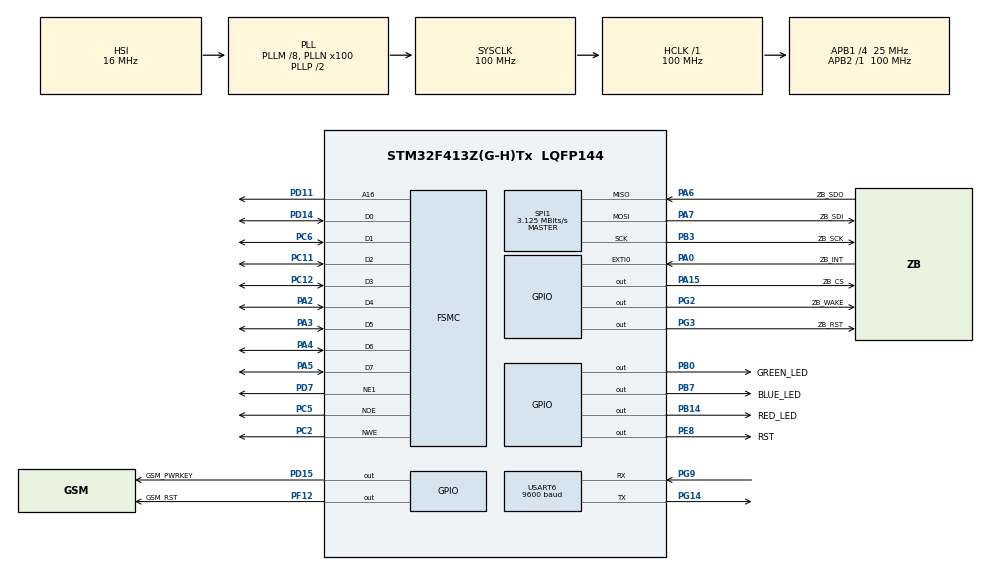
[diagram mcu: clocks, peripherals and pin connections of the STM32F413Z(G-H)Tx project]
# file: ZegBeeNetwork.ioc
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FREERTOS.BinarySemaphores01=zigbeeTransmitSema,Dynamic,NULL;gsmSema,Dynamic,NULL;zigbeeReceiveSema,Dynamic,NULL
FREERTOS.Tasks01=defaultTask,0,128,StartDefaultTask,Default,NULL,Dynamic,NULL,NULL;myTask02,0,128,ZigBeeTask,Default,NULL,Dynamic,NULL,NULL;myTask03,0,128,GsmTask,Default,NULL,Dynamic,NULL,NULL;myTask04,-3,128,DisplayTask,Default,NULL,Dynamic,NULL,NULL
FSMC.AddressSetupTime1=5
FSMC.BusTurnAroundDuration1=5
FSMC.DataSetupTime1=5
Mcu.Family=STM32F4
Mcu.Name=STM32F413Z(G-H)Tx
Mcu.Package=LQFP144
NVIC.EXTI0_IRQn=true\:5\:0\:true\:false\:true\:true\:true
NVIC.PriorityGroup=NVIC_PRIORITYGROUP_4
NVIC.TIM1_UP_TIM10_IRQn=true\:0\:0\:false\:false\:true\:false\:false
NVIC.TimeBase=TIM1_UP_TIM10_IRQn
NVIC.TimeBaseIP=TIM1
NVIC.USART6_IRQn=true\:5\:0\:false\:false\:true\:true\:true
PA0.GPIO_Label=ZB_INT
PA0.GPIO_ModeDefaultEXTI=GPIO_MODE_IT_FALLING
PA0.Signal=GPXTI0
PA15.GPIO_Label=ZB_CS
PA15.Signal=GPIO_Output
PA2.Signal=FSMC_D4_DA4
PA3.Signal=FSMC_D5_DA5
PA4.Signal=FSMC_D6_DA6
PA5.Signal=FSMC_D7_DA7
PA6.GPIO_Label=ZB_SDO
PA6.Mode=Full_Duplex_Master
PA6.Signal=SPI1_MISO
PA7.GPIO_Label=ZB_SDI
PA7.Mode=Full_Duplex_Master
PA7.Signal=SPI1_MOSI
PB0.GPIO_Label=GREEN_LED
PB0.Signal=GPIO_Output
PB14.GPIO_Label=RED_LED
PB14.Signal=GPIO_Output
PB3.GPIO_Label=ZB_SCK
PB3.Mode=Full_Duplex_Master
PB3.Signal=SPI1_SCK
PB7.GPIO_Label=BLUE_LED
PB7.Signal=GPIO_Output
PC11.Signal=FSMC_D2_DA2
PC12.Signal=FSMC_D3_DA3
PC2.Signal=FSMC_NWE
PC5.Signal=FSMC_NOE
PC6.Signal=FSMC_D1_DA1
PD11.Signal=FSMC_A16
PD14.Signal=FSMC_D0_DA0
PD15.GPIO_Label=GSM_PWRKEY
PD15.Signal=GPIO_Output
PD7.Mode=NorPsramChipSelect1_1
PD7.Signal=FSMC_NE1
PE8.GPIO_Label=RST
PE8.Signal=GPIO_Output
PF12.GPIO_Label=GSM_RST
PF12.Signal=GPIO_Output
PG14.Mode=Asynchronous
PG14.Signal=USART6_TX
PG2.GPIO_Label=ZB_WAKE
PG2.Signal=GPIO_Output
PG3.GPIO_Label=ZB_RST
PG3.Signal=GPIO_Output
PG9.Mode=Asynchronous
PG9.Signal=USART6_RX
ProjectManager.HeapSize=0x200
ProjectManager.StackSize=0x400
ProjectManager.TargetToolchain=SW4STM32
RCC.AHBFreq_Value=100000000
RCC.APB1CLKDivider=RCC_HCLK_DIV4
RCC.APB1Freq_Value=25000000
RCC.APB1TimFreq_Value=50000000
RCC.APB2Freq_Value=100000000
RCC.APB2TimFreq_Value=100000000
RCC.CortexFreq_Value=100000000
RCC.HCLKFreq_Value=100000000
RCC.PLLM=8
RCC.PLLN=100
RCC.SYSCLKFreq_VALUE=100000000
RCC.SYSCLKSource=RCC_SYSCLKSOURCE_PLLCLK
RCC.USBFreq_Value=100000000
RCC.VCOOutputFreq_Value=200000000
SH.FSMC_A16.0=FSMC_A16,A16_1
SH.FSMC_D0_DA0.0=FSMC_D0,8b-d1
SH.FSMC_D1_DA1.0=FSMC_D1,8b-d1
SH.FSMC_D2_DA2.0=FSMC_D2,8b-d1
SH.FSMC_D3_DA3.0=FSMC_D3,8b-d1
SH.FSMC_D4_DA4.0=FSMC_D4,8b-d1
SH.FSMC_D5_DA5.0=FSMC_D5,8b-d1
SH.FSMC_D6_DA6.0=FSMC_D6,8b-d1
SH.FSMC_D7_DA7.0=FSMC_D7,8b-d1
SH.FSMC_NOE.0=FSMC_NOE,Lcd1
SH.FSMC_NWE.0=FSMC_NWE,Lcd1
SPI1.BaudRatePrescaler=SPI_BAUDRATEPRESCALER_32
SPI1.CLKPhase=SPI_PHASE_1EDGE
SPI1.CalculateBaudRate=3.125 MBits/s
SPI1.Direction=SPI_DIRECTION_2LINES
SPI1.Mode=SPI_MODE_MASTER
SPI1.VirtualType=VM_MASTER
USART6.BaudRate=9600
USART6.VirtualMode=VM_ASYNC
VP_FREERTOS_VS_ENABLE.Mode=Enabled
VP_SYS_VS_tim1.Mode=TIM1
board=custom

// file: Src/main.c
/**
  ******************************************************************************
  * @file           : main.c
  * @brief          : Main program body
  ******************************************************************************
  * This notice applies to any and all portions of this file
  * that are not between comment pairs USER CODE BEGIN and
  * USER CODE END. Other portions of this file, whether
  * inserted by the user or by software development tools
  * are owned by their respective copyright owners.
  *
  * Copyright (c) 2019 STMicroelectronics International N.V.
  * All rights reserved.
  *
  * Redistribution and use in source and binary forms, with or without
  * modification, are permitted, provided that the following conditions are met:
  *
  * 1. Redistribution of source code must retain the above copyright notice,
  *    this list of conditions and the following disclaimer.
  * 2. Redistributions in binary form must reproduce the above copyright notice,
  *    this list of conditions and the following disclaimer in the documentation
  *    and/or other materials provided with the distribution.
  * 3. Neither the name of STMicroelectronics nor the names of other
  *    contributors to this software may be used to endorse or promote products
  *    derived from this software without specific written permission.
  * 4. This software, including modifications and/or derivative works of this
  *    software, must execute solely and exclusively on microcontroller or
  *    microprocessor devices manufactured by or for STMicroelectronics.
  * 5. Redistribution and use of this software other than as permitted under
  *    this license is void and will automatically terminate your rights under
  *    this license.
  *
  * THIS SOFTWARE IS PROVIDED BY STMICROELECTRONICS AND CONTRIBUTORS "AS IS"
  * AND ANY EXPRESS, IMPLIED OR STATUTORY WARRANTIES, INCLUDING, BUT NOT
  * LIMITED TO, THE IMPLIED WARRANTIES OF MERCHANTABILITY, FITNESS FOR A
  * PARTICULAR PURPOSE AND NON-INFRINGEMENT OF THIRD PARTY INTELLECTUAL PROPERTY
  * RIGHTS ARE DISCLAIMED TO THE FULLEST EXTENT PERMITTED BY LAW. IN NO EVENT
  * SHALL STMICROELECTRONICS OR CONTRIBUTORS BE LIABLE FOR ANY DIRECT, INDIRECT,
  * INCIDENTAL, SPECIAL, EXEMPLARY, OR CONSEQUENTIAL DAMAGES (INCLUDING, BUT NOT
  * LIMITED TO, PROCUREMENT OF SUBSTITUTE GOODS OR SERVICES; LOSS OF USE, DATA,
  * OR PROFITS; OR BUSINESS INTERRUPTION) HOWEVER CAUSED AND ON ANY THEORY OF
  * LIABILITY, WHETHER IN CONTRACT, STRICT LIABILITY, OR TORT (INCLUDING
  * NEGLIGENCE OR OTHERWISE) ARISING IN ANY WAY OUT OF THE USE OF THIS SOFTWARE,
  * EVEN IF ADVISED OF THE POSSIBILITY OF SUCH DAMAGE.
  *
  ******************************************************************************
  */
#include "main.h"
#include "stm32f4xx_hal.h"
#include "cmsis_os.h"
#include "spi.h"
#include "usart.h"
#include "gpio.h"
#include "fsmc.h"

/* USER CODE BEGIN Includes */
#include "mrf24j40.h"
/* USER CODE END Includes */

/* USER CODE BEGIN PV */
/* Private variables ---------------------------------------------------------*/

/* USER CODE END PV */

void SystemClock_Config(void);
void MX_FREERTOS_Init(void);

/* USER CODE BEGIN PFP */
/* Private function prototypes -----------------------------------------------*/

/* USER CODE END PFP */

/* USER CODE BEGIN 0 */

void HAL_GPIO_EXTI_Callback(uint16_t GPIO_Pin)
{
	HAL_NVIC_ClearPendingIRQ(EXTI0_IRQn);
	MRF24J40_EventHandler();
}

/* USER CODE END 0 */

int main(void)
{

  /* MCU Configuration----------------------------------------------------------*/

  /* Reset of all peripherals, Initializes the Flash interface and the Systick. */
  HAL_Init();

  /* Configure the system clock */
  SystemClock_Config();

  /* Initialize all configured peripherals */
  MX_GPIO_Init();
  MX_SPI1_Init();
  MX_FSMC_Init();
  MX_USART6_UART_Init();

  /* Call init function for freertos objects (in freertos.c) */
  MX_FREERTOS_Init();

  /* Start scheduler */
  osKernelStart();

  /* We should never get here as control is now taken by the scheduler */

  /* Infinite loop */
  while (1)
  {

  }

}

void SystemClock_Config(void)
{

  RCC_OscInitTypeDef RCC_OscInitStruct;
  RCC_ClkInitTypeDef RCC_ClkInitStruct;

    /**Configure the main internal regulator output voltage
    */
  __HAL_RCC_PWR_CLK_ENABLE();

  __HAL_PWR_VOLTAGESCALING_CONFIG(PWR_REGULATOR_VOLTAGE_SCALE1);

    /**Initializes the CPU, AHB and APB busses clocks
    */
  RCC_OscInitStruct.OscillatorType = RCC_OSCILLATORTYPE_HSI;
  RCC_OscInitStruct.HSIState = RCC_HSI_ON;
  RCC_OscInitStruct.HSICalibrationValue = 16;
  RCC_OscInitStruct.PLL.PLLState = RCC_PLL_ON;
  RCC_OscInitStruct.PLL.PLLSource = RCC_PLLSOURCE_HSI;
  RCC_OscInitStruct.PLL.PLLM = 8;
  RCC_OscInitStruct.PLL.PLLN = 100;
  RCC_OscInitStruct.PLL.PLLP = RCC_PLLP_DIV2;
  RCC_OscInitStruct.PLL.PLLQ = 2;
  RCC_OscInitStruct.PLL.PLLR = 2;
  if (HAL_RCC_OscConfig(&RCC_OscInitStruct) != HAL_OK)
  {
    _Error_Handler(__FILE__, __LINE__);
  }

    /**Initializes the CPU, AHB and APB busses clocks
    */
  RCC_ClkInitStruct.ClockType = RCC_CLOCKTYPE_HCLK|RCC_CLOCKTYPE_SYSCLK
                              |RCC_CLOCKTYPE_PCLK1|RCC_CLOCKTYPE_PCLK2;
  RCC_ClkInitStruct.SYSCLKSource = RCC_SYSCLKSOURCE_PLLCLK;
  RCC_ClkInitStruct.AHBCLKDivider = RCC_SYSCLK_DIV1;
  RCC_ClkInitStruct.APB1CLKDivider = RCC_HCLK_DIV4;
  RCC_ClkInitStruct.APB2CLKDivider = RCC_HCLK_DIV1;

  if (HAL_RCC_ClockConfig(&RCC_ClkInitStruct, FLASH_LATENCY_3) != HAL_OK)
  {
    _Error_Handler(__FILE__, __LINE__);
  }

    /**Configure the Systick interrupt time
    */
  HAL_SYSTICK_Config(HAL_RCC_GetHCLKFreq()/1000);

    /**Configure the Systick
    */
  HAL_SYSTICK_CLKSourceConfig(SYSTICK_CLKSOURCE_HCLK);

  /* SysTick_IRQn interrupt configuration */
  HAL_NVIC_SetPriority(SysTick_IRQn, 15, 0);
}

void HAL_TIM_PeriodElapsedCallback(TIM_HandleTypeDef *htim)
{
  if (htim->Instance == TIM1) {
    HAL_IncTick();
  }
}

void _Error_Handler(char *file, int line)
{
  while(1)
  {
  }
}

/************************ (C) COPYRIGHT STMicroelectronics *****END OF FILE****/

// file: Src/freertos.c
/**
  ******************************************************************************
  * File Name          : freertos.c
  * Description        : Code for freertos applications
  ******************************************************************************
  * This notice applies to any and all portions of this file
  * that are not between comment pairs USER CODE BEGIN and
  * USER CODE END. Other portions of this file, whether
  * inserted by the user or by software development tools
  * are owned by their respective copyright owners.
  *
  * Copyright (c) 2019 STMicroelectronics International N.V.
  * All rights reserved.
  *
  * Redistribution and use in source and binary forms, with or without
  * modification, are permitted, provided that the following conditions are met:
  *
  * 1. Redistribution of source code must retain the above copyright notice,
  *    this list of conditions and the following disclaimer.
  * 2. Redistributions in binary form must reproduce the above copyright notice,
  *    this list of conditions and the following disclaimer in the documentation
  *    and/or other materials provided with the distribution.
  * 3. Neither the name of STMicroelectronics nor the names of other
  *    contributors to this software may be used to endorse or promote products
  *    derived from this software without specific written permission.
  * 4. This software, including modifications and/or derivative works of this
  *    software, must execute solely and exclusively on microcontroller or
  *    microprocessor devices manufactured by or for STMicroelectronics.
  * 5. Redistribution and use of this software other than as permitted under
  *    this license is void and will automatically terminate your rights under
  *    this license.
  *
  * THIS SOFTWARE IS PROVIDED BY STMICROELECTRONICS AND CONTRIBUTORS "AS IS"
  * AND ANY EXPRESS, IMPLIED OR STATUTORY WARRANTIES, INCLUDING, BUT NOT
  * LIMITED TO, THE IMPLIED WARRANTIES OF MERCHANTABILITY, FITNESS FOR A
  * PARTICULAR PURPOSE AND NON-INFRINGEMENT OF THIRD PARTY INTELLECTUAL PROPERTY
  * RIGHTS ARE DISCLAIMED TO THE FULLEST EXTENT PERMITTED BY LAW. IN NO EVENT
  * SHALL STMICROELECTRONICS OR CONTRIBUTORS BE LIABLE FOR ANY DIRECT, INDIRECT,
  * INCIDENTAL, SPECIAL, EXEMPLARY, OR CONSEQUENTIAL DAMAGES (INCLUDING, BUT NOT
  * LIMITED TO, PROCUREMENT OF SUBSTITUTE GOODS OR SERVICES; LOSS OF USE, DATA,
  * OR PROFITS; OR BUSINESS INTERRUPTION) HOWEVER CAUSED AND ON ANY THEORY OF
  * LIABILITY, WHETHER IN CONTRACT, STRICT LIABILITY, OR TORT (INCLUDING
  * NEGLIGENCE OR OTHERWISE) ARISING IN ANY WAY OUT OF THE USE OF THIS SOFTWARE,
  * EVEN IF ADVISED OF THE POSSIBILITY OF SUCH DAMAGE.
  *
  ******************************************************************************
  */

#include "FreeRTOS.h"
#include "task.h"
#include "cmsis_os.h"

/* USER CODE BEGIN Includes */
#include "lgdp4524.h"
#include "GSM.h"
#include "mrf24j40.h"
#include <string.h>
#include <stdbool.h>
/* USER CODE END Includes */

osThreadId defaultTaskHandle;
osThreadId myTask02Handle;
osThreadId myTask03Handle;
osThreadId myTask04Handle;
osSemaphoreId zigbeeTransmitSemaHandle;
osSemaphoreId gsmSemaHandle;
osSemaphoreId zigbeeReceiveSemaHandle;

/* USER CODE BEGIN Variables */
bool enablePost = false;
/* USER CODE END Variables */

void StartDefaultTask(void const * argument);
void ZigBeeTask(void const * argument);
void GsmTask(void const * argument);
void DisplayTask(void const * argument);

void MX_FREERTOS_Init(void); /* (MISRA C 2004 rule 8.1) */

/* USER CODE BEGIN FunctionPrototypes */
void ZigBee_ReceivedCallback(void);
bool IsValidDataToPost(uint8_t* data);
/* USER CODE END FunctionPrototypes */

/* Hook prototypes */

/* Init FreeRTOS */

void MX_FREERTOS_Init(void) {

  /* Create the semaphores(s) */
  /* definition and creation of zigbeeTransmitSema */
  osSemaphoreDef(zigbeeTransmitSema);
  zigbeeTransmitSemaHandle = osSemaphoreCreate(osSemaphore(zigbeeTransmitSema), 1);

  /* definition and creation of gsmSema */
  osSemaphoreDef(gsmSema);
  gsmSemaHandle = osSemaphoreCreate(osSemaphore(gsmSema), 1);

  /* definition and creation of zigbeeReceiveSema */
  osSemaphoreDef(zigbeeReceiveSema);
  zigbeeReceiveSemaHandle = osSemaphoreCreate(osSemaphore(zigbeeReceiveSema), 1);

  /* Create the thread(s) */
  /* definition and creation of defaultTask */
  osThreadDef(defaultTask, StartDefaultTask, osPriorityNormal, 0, 128);
  defaultTaskHandle = osThreadCreate(osThread(defaultTask), NULL);

  /* definition and creation of myTask02 */
  osThreadDef(myTask02, ZigBeeTask, osPriorityNormal, 0, 128);
  myTask02Handle = osThreadCreate(osThread(myTask02), NULL);

  /* definition and creation of myTask03 */
  osThreadDef(myTask03, GsmTask, osPriorityNormal, 0, 128);
  myTask03Handle = osThreadCreate(osThread(myTask03), NULL);

  /* definition and creation of myTask04 */
  osThreadDef(myTask04, DisplayTask, osPriorityIdle, 0, 128);
  myTask04Handle = osThreadCreate(osThread(myTask04), NULL);

}

/* StartDefaultTask function */
void StartDefaultTask(void const * argument)
{

	for(;;)
	{
		osDelay(1);
	}
}

/* ZigBeeTask function */
void ZigBeeTask(void const * argument)
{
  /* USER CODE BEGIN ZigBeeTask */
	RadioInit();
	RadioInitP2P();
	MRF24J40_InstallCallback(RECEIVE_CALLBACK, ZigBee_ReceivedCallback);
	/* Infinite loop */
	for(;;)
	{
		if (osOK == osSemaphoreWait(zigbeeTransmitSemaHandle, 0))
		{
			RadioTXPacket();
		}
		if (osOK == osSemaphoreWait(zigbeeReceiveSemaHandle, 0))
		{
			enablePost = 1;
		}
	}
  /* USER CODE END ZigBeeTask */
}

/* GsmTask function */
void GsmTask(void const * argument)
{
  /* USER CODE BEGIN GsmTask */
	uint8_t* collectedData;
	uint8_t reqType = 0;
	uint8_t pendingRsp = false;
	GSM_Init();
	if (GSM_HttpGet((uint8_t*)"217.26.174.207:350/saveip/") == GSM_HTTP_RESPONSE_OK){
		GSM_StartServerConnection(SERVER_HOST, SERVER_CONNECTION_PORT);
	}
	/* Infinite loop */
	for(;;)
	{
		switch (GSM_ListenToServerCommands())
		{
		case GSM_COMMAND_START_WATERING:
			HAL_GPIO_TogglePin(GREEN_LED_GPIO_Port, GREEN_LED_Pin);
			MRF24J40_ToSend((uint8_t*)"Start watering", 14);
			osSemaphoreRelease(zigbeeTransmitSemaHandle);
			pendingRsp = true;
			reqType = 1;
			break;
		case GSM_COMMAND_STOP_WATERING:
			HAL_GPIO_TogglePin(GREEN_LED_GPIO_Port, GREEN_LED_Pin);
			MRF24J40_ToSend((uint8_t*)"Stop watering", 13);
			osSemaphoreRelease(zigbeeTransmitSemaHandle);
			pendingRsp = true;
			reqType = 2;
			break;
		case GSM_COMMAND_COLLECTING_DATA:
			HAL_GPIO_TogglePin(RED_LED_GPIO_Port, RED_LED_Pin);
			MRF24J40_ToSend((uint8_t*)"Start collecting data", 22);
			osSemaphoreRelease(zigbeeTransmitSemaHandle);
			pendingRsp = true;
			reqType = 3;
			break;
		default:
			break;
		}

		if ((pendingRsp == true)/* && (osOK == osSemaphoreWait(gsmSemaHandle, 0))*/)
		{
			if (reqType == 1)
			{
				GSM_TcpSend((uint8_t*)"Watering started", 16);
				reqType = 0;
			}
			else if (reqType == 2)
			{
				GSM_TcpSend((uint8_t*)"Watering stopped", 16);
				reqType = 0;
			}
			else if (reqType == 3)
			{
				GSM_TcpSend((uint8_t*)"Collecting started", 18);
				reqType = 4;
			}
			else if (reqType == 4 && enablePost == true)
			{
				collectedData = Rx.payload;
				if (IsValidDataToPost(collectedData))
				{
					/* Received data by ZigBee already formated to send to server */
					GSM_HttpPost("217.26.174.207:350/datatransfer/", collectedData);
				}
				reqType = 0;
				enablePost = false;
			}
		}
	}
  /* USER CODE END GsmTask */
}

/* DisplayTask function */
void DisplayTask(void const * argument)
{
  /* USER CODE BEGIN DisplayTask */
	ZigBeeStateType zigbeeState = MRF24J40_GetState();
	uint8_t* zigbeeStateStr[2] = {(uint8_t*)"UNINITIALIZED", (uint8_t*)"INITIALIZED"};

	uint8_t gsmState = Get_eGsmState();
	uint8_t* gsmStateStr[8] = {(uint8_t*)"enIDLE", (uint8_t*)"enRDY", (uint8_t*)"enCallReady", (uint8_t*)"enOK", (uint8_t*)"enReset",
			(uint8_t*)"enCalling", (uint8_t*)"enNoSIM", (uint8_t*)"enUnreachable"};

	uint8_t gsmGprsState = Get_eGPRSState();
	uint8_t* gsmGprsStateStr[10] = {(uint8_t*)"enIPInitial", (uint8_t*)"enIPstart", (uint8_t*)"enIPConfig", (uint8_t*)"enIPGprsAct",
			(uint8_t*)"enIPStatus", (uint8_t*)"enIPprocessing", (uint8_t*)"enConnectOk", (uint8_t*)"enTcpClosing",
			(uint8_t*)"enTcpClosed", (uint8_t*)"enPDPdeactivated"};

	HAL_GPIO_WritePin(RST_GPIO_Port, RST_Pin, GPIO_PIN_RESET);
	osDelay(10);

	HAL_GPIO_WritePin(RST_GPIO_Port, RST_Pin, GPIO_PIN_SET);
	osDelay(10);
	LCD_LGDP4524_Init(enLandscape);
	SetFont((uint8_t*)SmallFont);

	ClrScr();
	FillScr(255, 255, 255);
	SetBrushColor(0, 0, 0);
	SetBackColor(255, 255, 255, 255);
	Print((uint8_t*)"ZIGBEE STATE:", LEFT, 50, 0);
	Print((uint8_t*)"GSM STATE:", LEFT, 90, 0);
	Print((uint8_t*)"GPRS STATE:", LEFT, 105, 0);

	Print(zigbeeStateStr[zigbeeState], 104, 50, 0);
	Print(gsmStateStr[gsmState], 80, 90, 0);
	Print(gsmGprsStateStr[gsmGprsState], 88, 105, 0);
  /* Infinite loop */
  for(;;)
  {
	  if (zigbeeState != MRF24J40_GetState())
	  {
			SetBrushColor(255, 255, 255);
			Print(zigbeeStateStr[zigbeeState], 104, 50, 0);
			zigbeeState = MRF24J40_GetState();
			SetBrushColor(0, 0, 0);
			Print(zigbeeStateStr[zigbeeState], 104, 50, 0);
		}
		if (gsmState != Get_eGsmState())
		{
			SetBrushColor(255, 255, 255);
			Print(gsmStateStr[gsmState], 80, 90, 0);
			gsmState = Get_eGsmState();
			SetBrushColor(0, 0, 0);
			Print(gsmStateStr[gsmState], 80, 90, 0);
		}
		if (gsmGprsState != Get_eGPRSState())
		{
			SetBrushColor(255, 255, 255);
			Print(gsmGprsStateStr[gsmGprsState], 88, 105, 0);
			gsmGprsState = Get_eGPRSState();
			SetBrushColor(0, 0, 0);
			Print(gsmGprsStateStr[gsmGprsState], 88, 105, 0);
		}
		osDelay(50);
  }
  /* USER CODE END DisplayTask */
}

/* USER CODE BEGIN Application */
void ZigBee_ReceivedCallback(void)
{
	osSemaphoreRelease(zigbeeReceiveSemaHandle);
}

bool IsValidDataToPost(uint8_t* data)
{
	uint8_t index;
	bool isValid = false;
	uint8_t dataLength = (uint8_t)strlen((const char*)data);

	for (index = 0; index < dataLength; index++)
	{
		if ((data[index] == "{") && ((dataLength - index) > 2))
		{
			data = &data[index];
			break;
		}
	}

	if (index != dataLength)
	{
		for ( ; index < dataLength; index++)
		{
			if (data[index] == "}")
			{
				isValid = true;
				break;
			}
		}
	}

	return isValid;
}
/* USER CODE END Application */

/************************ (C) COPYRIGHT STMicroelectronics *****END OF FILE****/
